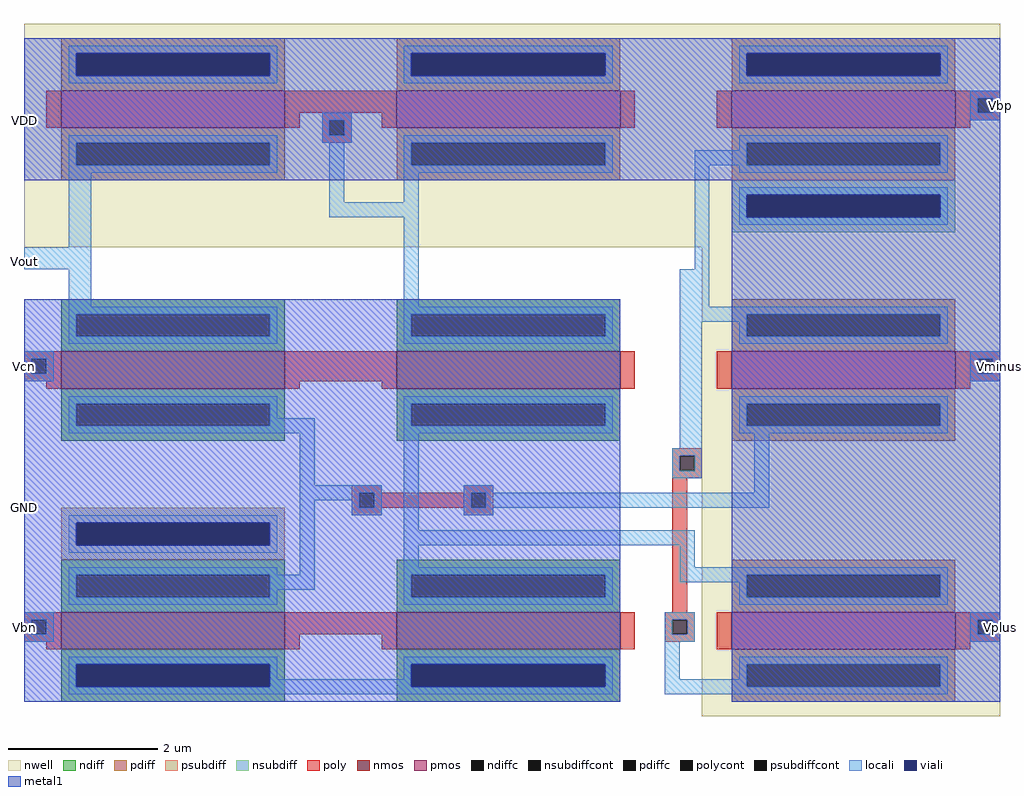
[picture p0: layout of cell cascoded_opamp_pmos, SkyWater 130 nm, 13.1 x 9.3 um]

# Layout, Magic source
magic
tech sky130A
<< nwell >>
rect -50 -160 1260 140
rect 860 -790 1260 -160
<< nmos >>
rect 0 -350 300 -300
rect 450 -350 750 -300
rect 0 -700 300 -650
rect 450 -700 750 -650
<< pmos >>
rect 0 0 300 50
rect 450 0 750 50
rect 900 0 1200 50
rect 900 -350 1200 -300
rect 900 -700 1200 -650
<< ndiff >>
rect 0 -250 300 -230
rect 0 -280 20 -250
rect 280 -280 300 -250
rect 0 -300 300 -280
rect 450 -250 750 -230
rect 450 -280 470 -250
rect 730 -280 750 -250
rect 450 -300 750 -280
rect 0 -370 300 -350
rect 0 -400 20 -370
rect 280 -400 300 -370
rect 0 -420 300 -400
rect 450 -370 750 -350
rect 450 -400 470 -370
rect 730 -400 750 -370
rect 450 -420 750 -400
rect 0 -600 300 -580
rect 0 -630 20 -600
rect 280 -630 300 -600
rect 0 -650 300 -630
rect 450 -600 750 -580
rect 450 -630 470 -600
rect 730 -630 750 -600
rect 450 -650 750 -630
rect 0 -720 300 -700
rect 0 -750 20 -720
rect 280 -750 300 -720
rect 0 -770 300 -750
rect 450 -720 750 -700
rect 450 -750 470 -720
rect 730 -750 750 -720
rect 450 -770 750 -750
<< pdiff >>
rect 0 100 300 120
rect 0 70 20 100
rect 280 70 300 100
rect 0 50 300 70
rect 450 100 750 120
rect 450 70 470 100
rect 730 70 750 100
rect 450 50 750 70
rect 900 100 1200 120
rect 900 70 920 100
rect 1180 70 1200 100
rect 900 50 1200 70
rect 0 -20 300 0
rect 450 -20 750 0
rect 0 -50 20 -20
rect 280 -50 300 -20
rect 0 -70 300 -50
rect 450 -50 470 -20
rect 730 -50 750 -20
rect 450 -70 750 -50
rect 900 -20 1200 0
rect 900 -50 920 -20
rect 1180 -50 1200 -20
rect 900 -70 1200 -50
rect 900 -250 1200 -230
rect 900 -280 920 -250
rect 1180 -280 1200 -250
rect 900 -300 1200 -280
rect 900 -370 1200 -350
rect 900 -400 920 -370
rect 1180 -400 1200 -370
rect 900 -420 1200 -400
rect 900 -600 1200 -580
rect 900 -630 920 -600
rect 1180 -630 1200 -600
rect 900 -650 1200 -630
rect 900 -720 1200 -700
rect 900 -750 920 -720
rect 1180 -750 1200 -720
rect 900 -770 1200 -750
<< ndiffc >>
rect 20 -280 280 -250
rect 470 -280 730 -250
rect 20 -400 280 -370
rect 470 -400 730 -370
rect 20 -630 280 -600
rect 470 -630 730 -600
rect 20 -750 280 -720
rect 470 -750 730 -720
<< pdiffc >>
rect 20 70 280 100
rect 470 70 730 100
rect 920 70 1180 100
rect 20 -50 280 -20
rect 470 -50 730 -20
rect 920 -50 1180 -20
rect 920 -280 1180 -250
rect 920 -400 1180 -370
rect 920 -630 1180 -600
rect 920 -750 1180 -720
<< psubdiff >>
rect 0 -530 300 -510
rect 0 -560 20 -530
rect 280 -560 300 -530
rect 0 -580 300 -560
<< nsubdiff >>
rect 900 -90 1200 -70
rect 900 -120 920 -90
rect 1180 -120 1200 -90
rect 900 -140 1200 -120
<< psubdiffcont >>
rect 20 -560 280 -530
<< nsubdiffcont >>
rect 920 -120 1180 -90
<< poly >>
rect -20 0 0 50
rect 300 20 450 50
rect 300 0 320 20
rect 350 10 390 20
rect 350 -10 360 10
rect 380 -10 390 10
rect 430 0 450 20
rect 750 0 770 50
rect 880 0 900 50
rect 1200 40 1260 50
rect 1200 20 1230 40
rect 1250 20 1260 40
rect 1200 10 1260 20
rect 1200 0 1220 10
rect 350 -20 390 -10
rect -50 -310 0 -300
rect -50 -330 -40 -310
rect -20 -330 0 -310
rect -50 -340 0 -330
rect -20 -350 0 -340
rect 300 -340 450 -300
rect 300 -350 320 -340
rect 430 -350 450 -340
rect 750 -350 770 -300
rect 880 -350 900 -300
rect 1200 -310 1260 -300
rect 1200 -330 1230 -310
rect 1250 -330 1260 -310
rect 1200 -340 1260 -330
rect 1200 -350 1220 -340
rect 820 -440 860 -430
rect 820 -460 830 -440
rect 850 -460 860 -440
rect 820 -470 860 -460
rect 390 -490 430 -480
rect 540 -490 580 -480
rect 390 -510 400 -490
rect 420 -510 550 -490
rect 570 -510 580 -490
rect 390 -520 430 -510
rect 540 -520 580 -510
rect 820 -650 840 -470
rect -50 -660 0 -650
rect -50 -680 -40 -660
rect -20 -680 0 -660
rect -50 -690 0 -680
rect -20 -700 0 -690
rect 300 -680 450 -650
rect 300 -700 320 -680
rect 430 -700 450 -680
rect 750 -700 770 -650
rect 810 -660 850 -650
rect 810 -680 820 -660
rect 840 -680 850 -660
rect 810 -690 850 -680
rect 880 -700 900 -650
rect 1200 -660 1260 -650
rect 1200 -680 1230 -660
rect 1250 -680 1260 -660
rect 1200 -690 1260 -680
rect 1200 -700 1220 -690
<< polycont >>
rect 360 -10 380 10
rect 1230 20 1250 40
rect -40 -330 -20 -310
rect 1230 -330 1250 -310
rect 830 -460 850 -440
rect 400 -510 420 -490
rect 550 -510 570 -490
rect -40 -680 -20 -660
rect 820 -680 840 -660
rect 1230 -680 1250 -660
<< locali >>
rect 10 100 290 110
rect 10 70 20 100
rect 280 70 290 100
rect 10 60 290 70
rect 460 100 740 110
rect 460 70 470 100
rect 730 70 740 100
rect 460 60 740 70
rect 910 100 1190 110
rect 910 70 920 100
rect 1180 70 1190 100
rect 910 60 1190 70
rect 1220 40 1260 50
rect 1220 20 1230 40
rect 1250 20 1260 40
rect 350 10 390 20
rect 1220 10 1260 20
rect 350 -10 360 10
rect 380 -10 390 10
rect 10 -20 290 -10
rect 350 -20 390 -10
rect 460 -20 740 -10
rect 10 -50 20 -20
rect 280 -50 290 -20
rect 10 -60 290 -50
rect 10 -160 40 -60
rect 360 -100 380 -20
rect 460 -50 470 -20
rect 730 -50 740 -20
rect 910 -20 1190 -10
rect 910 -30 920 -20
rect 460 -60 740 -50
rect 850 -50 920 -30
rect 1180 -50 1190 -20
rect 460 -100 480 -60
rect 360 -120 480 -100
rect -50 -190 40 -160
rect 10 -240 40 -190
rect 460 -240 480 -120
rect 850 -190 870 -50
rect 910 -60 1190 -50
rect 910 -90 1190 -80
rect 910 -120 920 -90
rect 1180 -120 1190 -90
rect 910 -130 1190 -120
rect 830 -240 870 -190
rect 10 -250 290 -240
rect 10 -280 20 -250
rect 280 -280 290 -250
rect 10 -290 290 -280
rect 460 -250 740 -240
rect 460 -280 470 -250
rect 730 -280 740 -250
rect 460 -290 740 -280
rect 830 -250 1190 -240
rect 830 -260 920 -250
rect -50 -310 -10 -300
rect -50 -330 -40 -310
rect -20 -330 -10 -310
rect -50 -340 -10 -330
rect 10 -370 290 -360
rect 10 -400 20 -370
rect 280 -390 290 -370
rect 460 -370 740 -360
rect 280 -400 340 -390
rect 10 -410 340 -400
rect 320 -480 340 -410
rect 460 -400 470 -370
rect 730 -400 740 -370
rect 460 -410 740 -400
rect 320 -490 430 -480
rect 320 -500 400 -490
rect 10 -530 290 -520
rect 10 -560 20 -530
rect 280 -560 290 -530
rect 10 -570 290 -560
rect 10 -600 290 -590
rect 320 -600 340 -500
rect 390 -510 400 -500
rect 420 -510 430 -490
rect 390 -520 430 -510
rect 10 -630 20 -600
rect 280 -620 340 -600
rect 460 -540 480 -410
rect 830 -430 860 -260
rect 910 -280 920 -260
rect 1180 -280 1190 -250
rect 910 -290 1190 -280
rect 1220 -310 1260 -300
rect 1220 -330 1230 -310
rect 1250 -330 1260 -310
rect 1220 -340 1260 -330
rect 910 -370 1190 -360
rect 910 -400 920 -370
rect 1180 -400 1190 -370
rect 910 -410 1190 -400
rect 820 -440 860 -430
rect 820 -460 830 -440
rect 850 -460 860 -440
rect 820 -470 860 -460
rect 540 -490 580 -480
rect 930 -490 950 -410
rect 540 -510 550 -490
rect 570 -510 950 -490
rect 540 -520 580 -510
rect 460 -560 850 -540
rect 460 -590 480 -560
rect 830 -590 850 -560
rect 460 -600 740 -590
rect 280 -630 290 -620
rect 10 -640 290 -630
rect 460 -630 470 -600
rect 730 -630 740 -600
rect 830 -600 1190 -590
rect 830 -610 920 -600
rect 460 -640 740 -630
rect 910 -630 920 -610
rect 1180 -630 1190 -600
rect 910 -640 1190 -630
rect -50 -660 -10 -650
rect -50 -680 -40 -660
rect -20 -680 -10 -660
rect -50 -690 -10 -680
rect 810 -660 850 -650
rect 810 -680 820 -660
rect 840 -680 850 -660
rect 810 -690 850 -680
rect 1220 -660 1260 -650
rect 1220 -680 1230 -660
rect 1250 -680 1260 -660
rect 1220 -690 1260 -680
rect 10 -720 290 -710
rect 10 -750 20 -720
rect 280 -740 290 -720
rect 460 -720 740 -710
rect 460 -740 470 -720
rect 280 -750 470 -740
rect 730 -750 740 -720
rect 10 -760 740 -750
rect 810 -740 830 -690
rect 910 -720 1190 -710
rect 910 -740 920 -720
rect 810 -750 920 -740
rect 1180 -750 1190 -720
rect 810 -760 1190 -750
<< viali >>
rect 20 70 280 100
rect 470 70 730 100
rect 920 70 1180 100
rect 920 -120 1180 -90
rect 20 -560 280 -530
rect 20 -750 280 -720
rect 470 -750 730 -720
<< metal1 >>
rect -50 100 1260 120
rect -50 70 20 100
rect 280 70 470 100
rect 730 70 920 100
rect 1180 70 1260 100
rect -50 -70 1260 70
rect 900 -90 1260 -70
rect 900 -120 920 -90
rect 1180 -120 1260 -90
rect -50 -530 750 -230
rect -50 -560 20 -530
rect 280 -560 750 -530
rect -50 -720 750 -560
rect -50 -750 20 -720
rect 280 -750 470 -720
rect 730 -750 750 -720
rect -50 -770 750 -750
rect 900 -770 1260 -120
<< labels >>
rlabel locali 1260 30 1260 30 3 Vbp
port 1 e
rlabel locali 1260 -320 1260 -320 3 Vminus
port 2 e
rlabel locali 1260 -670 1260 -670 3 Vplus
port 3 e
rlabel locali -50 -670 -50 -670 7 Vbn
port 4 w
rlabel locali -50 -320 -50 -320 7 Vcn
port 5 w
rlabel locali -50 -180 -50 -180 7 Vout
port 6 w
rlabel metal1 -50 -510 -50 -510 7 GND
port 7 w
rlabel metal1 -50 10 -50 10 7 VDD
port 8 w
<< end >>
